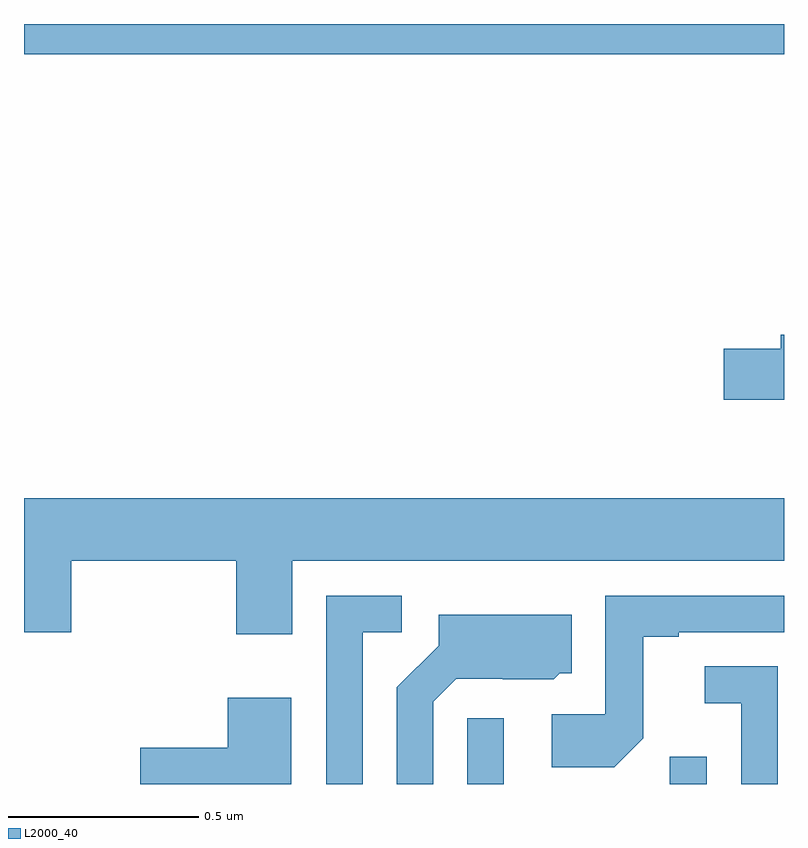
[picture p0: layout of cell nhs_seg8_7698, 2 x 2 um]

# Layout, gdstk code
import gdstk
lib = gdstk.Library(unit=1e-6, precision=1e-09)
def R(c, l, rs):  # rectangles x0, y0, x1, y1
    for r in rs: c.add(gdstk.rectangle(r[:2], r[2:], *l))
def P(c, l, *ps):  # polygons
    for p in ps: c.add(gdstk.Polygon(p, *l))
L2000_40 = (2000, 40)

nhs_seg8_7698 = lib.new_cell('nhs_seg8_7698')
R(nhs_seg8_7698, L2000_40, [(214.167,1127.9,214.263,1128.073), (214.699,1127.9,214.797,1127.972), (213,1129.82,215,1129.9)])
P(nhs_seg8_7698, L2000_40, [(215,1129.082),(214.991,1129.082),(214.991,1129.046),(214.842,1129.046),(214.842,1128.911),(215,1128.911)],
  [(213.706,1128.488),(215,1128.488),(215,1128.652),(213,1128.652),(213,1128.3),(213.124,1128.3),(213.124,1128.488),(213.559,1128.488),(213.559,1128.294),(213.706,1128.294)],
  [(214.629,1128.02),(214.629,1128.288),(214.723,1128.288),(214.723,1128.3),(215,1128.3),(215,1128.396),(214.53,1128.396),(214.53,1128.084),(214.389,1128.084),(214.389,1127.944),(214.553,1127.944)],
  [(213.891,1128.3),(213.994,1128.3),(213.994,1128.396),(213.795,1128.396),(213.795,1127.9),(213.891,1127.9)],
  [(214.077,1128.117),(214.137,1128.177),(214.26,1128.177),(214.26,1128.176),(214.394,1128.176),(214.41,1128.192),(214.441,1128.192),(214.441,1128.346),(214.091,1128.346),(214.091,1128.264),(213.981,1128.154),(213.981,1127.9),(214.077,1127.9)],
  [(214.983,1128.21),(214.791,1128.21),(214.791,1128.113),(214.887,1128.113),(214.887,1127.9),(214.983,1127.9)],
  [(213.703,1128.127),(213.536,1128.127),(213.536,1127.996),(213.306,1127.996),(213.306,1127.9),(213.703,1127.9)])

lib.write_gds('nhs_seg8_7698.gds')
